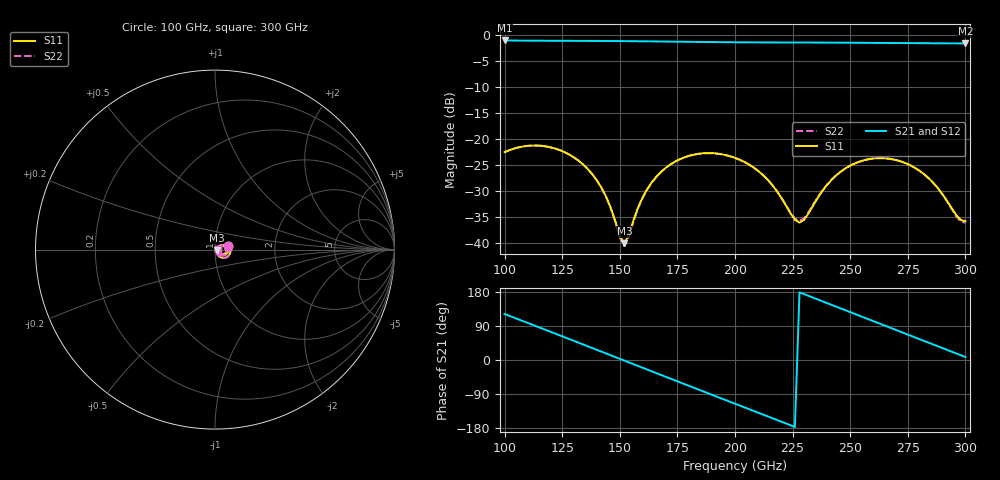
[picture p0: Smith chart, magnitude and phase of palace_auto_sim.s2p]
#  GHZ S DB R 50
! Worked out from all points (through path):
!   101 points, 100 GHz to 300 GHz, reference 50 ohm
!   highest |S21| = -0.97 dB at 100 GHz (marker M1); lowest = -1.6 dB at 300 GHz (marker M2)
!   group delay of S21, straight-line fit = 6.58 ps
!   lowest |S11| = -40.1 dB at 152 GHz (marker M3), VSWR 1.02, Z = 51 - j0.155 ohm
!   |S11| at or under -10 dB: start of sweep to end of sweep
!   |S22| runs from -40.6 to -21.2 dB; largest |S21 - S12| = 1e-13
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100  -22.52 16.8  -0.97 121.4  -0.97 121.4  -22.52 16.6
108  -21.41 0.7  -1.01 102.6  -1.01 102.6  -21.41 0.5
116  -21.29 -15.9  -1.03 83.8  -1.03 83.8  -21.29 -16.1
124  -22.13 -32.3  -1.04 64.9  -1.04 64.9  -22.12 -32.7
134  -24.86 -51.5  -1.05 41.2  -1.05 41.2  -24.86 -52.1
144  -31.06 -62.8  -1.08 17.4  -1.08 17.4  -31.08 -64.1
152  -40.10 -8.8  -1.10 -1.7  -1.10 -1.7  -40.64 -9.7
160  -31.14 40.6  -1.14 -20.7  -1.14 -20.7  -31.25 41.6
168  -26.27 32.6  -1.18 -39.7  -1.18 -39.7  -26.31 33.2
184  -22.83 3.9  -1.26 -77.6  -1.26 -77.6  -22.85 4.2
192  -22.77 -11.0  -1.29 -96.5  -1.29 -96.5  -22.79 -10.7
200  -23.60 -25.1  -1.32 -115.3  -1.32 -115.3  -23.62 -24.8
214  -27.75 -44.0  -1.35 -148.3  -1.35 -148.3  -27.74 -43.4
228  -36.10 -5.6  -1.37 178.6  -1.37 178.6  -35.79 -5.3
234  -32.73 29.0  -1.38 164.3  -1.38 164.3  -32.55 27.9
248  -25.64 24.4  -1.41 131.1  -1.41 131.1  -25.60 23.6
258  -23.87 7.3  -1.44 107.3  -1.44 107.3  -23.86 6.6
268  -23.85 -11.0  -1.46 83.7  -1.46 83.7  -23.85 -11.7
276  -25.02 -24.8  -1.49 64.7  -1.49 64.7  -25.03 -25.6
286  -28.39 -37.1  -1.51 41.0  -1.51 41.0  -28.42 -38.1
296  -34.63 -22.5  -1.54 17.3  -1.54 17.3  -34.84 -23.8
300  -35.78 4.4  -1.55 7.9  -1.55 7.9  -36.10 4.1
